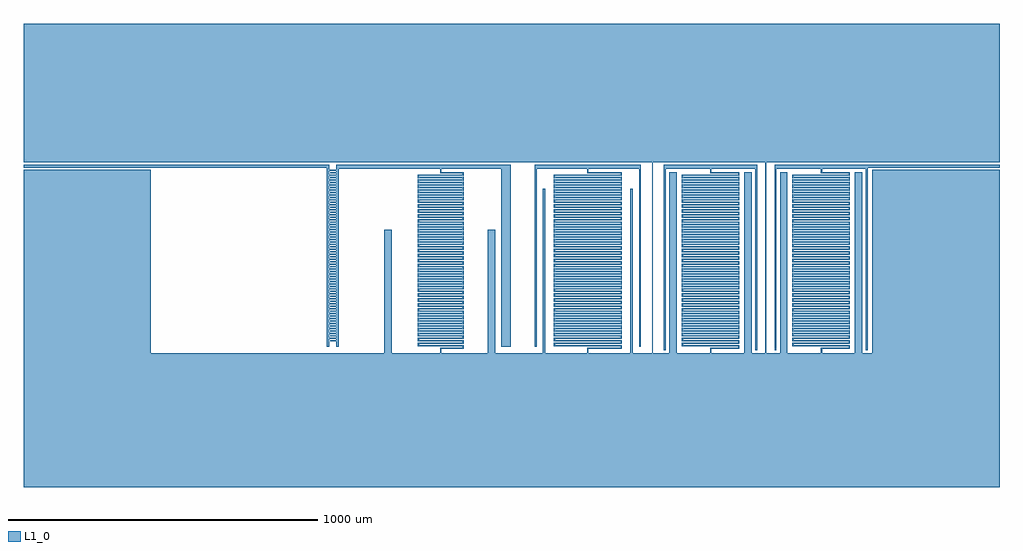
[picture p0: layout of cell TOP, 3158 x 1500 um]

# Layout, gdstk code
import gdstk
lib = gdstk.Library(unit=1e-6, precision=1e-09)
def R(c, l, rs):  # rectangles x0, y0, x1, y1
    for r in rs: c.add(gdstk.rectangle(r[:2], r[2:], *l))
def A(c, l, x, y, w, h, nx, ny, dx, dy):  # array of equal rectangles
    R(c, l, [(x+i*dx, y+j*dy, x+i*dx+w, y+j*dy+h) for i in range(nx) for j in range(ny)])
def P(c, l, *ps):  # polygons
    for p in ps: c.add(gdstk.Polygon(p, *l))
L1_0 = (1, 0)

top = lib.new_cell('TOP')
A(top, L1_0, 992, 472, 20, 4, 1, 35, 0, 16)
A(top, L1_0, 990, 480, 20, 4, 1, 35, 0, 16)
R(top, L1_0, [(1168,434,1192,834), (1502,434,1526,834), (1680,434,1688,966), (1964,434,1972,966), (2034,434,2036,1052), (2090,434,2114,1020), (2332,434,2356,1020), (2448,434,2472,1020), (2690,434,2714,1020), (2582,1034,3158,1044)])
P(top, L1_0, [(2404,434),(2404,1052),(3158,1052),(3158,1500),(0,1500),(0,1052),(2400,1052),(2400,434)],
  [(0,1044),(0,1034),(982,1034),(982,454),(990,454),(990,1044)],
  [(2746,1028),(2746,434),(412,434),(412,1028),(0,1028),(0,0),(3158,0),(3158,1028)],
  [(1654,454),(1660,454),(1660,1030),(1992,1030),(1992,454),(1998,454),(1998,1044),(1654,1044)],
  [(1828,448),(1936,448),(1936,460),(1720,460),(1720,464),(1936,464),(1936,476),(1720,476),(1720,480),(1936,480),(1936,492),(1720,492),(1720,496),(1936,496),(1936,508),(1720,508),(1720,512),(1936,512),(1936,524),(1720,524),(1720,528),(1936,528),(1936,540),(1720,540),(1720,544),(1936,544),(1936,556),(1720,556),(1720,560),(1936,560),(1936,572),(1720,572),(1720,576),(1936,576),(1936,588),(1720,588),(1720,592),(1936,592),(1936,604),(1720,604),(1720,608),(1936,608),(1936,620),(1720,620),(1720,624),(1936,624),(1936,636),(1720,636),(1720,640),(1936,640),(1936,652),(1720,652),(1720,656),(1936,656),(1936,668),(1720,668),(1720,672),(1936,672),(1936,684),(1720,684),(1720,688),(1936,688),(1936,700),(1720,700),(1720,704),(1936,704),(1936,716),(1720,716),(1720,720),(1936,720),(1936,732),(1720,732),(1720,736),(1716,736),(1716,728),(1932,728),(1932,724),(1716,724),(1716,712),(1932,712),(1932,708),(1716,708),(1716,696),(1932,696),(1932,692),(1716,692),(1716,680),(1932,680),(1932,676),(1716,676),(1716,664),(1932,664),(1932,660),(1716,660),(1716,648),(1932,648),(1932,644),(1716,644),(1716,632),(1932,632),(1932,628),(1716,628),(1716,616),(1932,616),(1932,612),(1716,612),(1716,600),(1932,600),(1932,596),(1716,596),(1716,584),(1932,584),(1932,580),(1716,580),(1716,568),(1932,568),(1932,564),(1716,564),(1716,552),(1932,552),(1932,548),(1716,548),(1716,536),(1932,536),(1932,532),(1716,532),(1716,520),(1932,520),(1932,516),(1716,516),(1716,504),(1932,504),(1932,500),(1716,500),(1716,488),(1932,488),(1932,484),(1716,484),(1716,472),(1932,472),(1932,468),(1716,468),(1716,456),(1932,456),(1932,452),(1824,452),(1824,434),(1828,434)],
  [(1936,748),(1720,748),(1720,752),(1936,752),(1936,764),(1720,764),(1720,768),(1936,768),(1936,780),(1720,780),(1720,784),(1936,784),(1936,796),(1720,796),(1720,800),(1936,800),(1936,812),(1720,812),(1720,816),(1936,816),(1936,828),(1720,828),(1720,832),(1936,832),(1936,844),(1720,844),(1720,848),(1936,848),(1936,860),(1720,860),(1720,864),(1936,864),(1936,876),(1720,876),(1720,880),(1936,880),(1936,892),(1720,892),(1720,896),(1936,896),(1936,908),(1720,908),(1720,912),(1936,912),(1936,924),(1720,924),(1720,928),(1936,928),(1936,940),(1720,940),(1720,944),(1936,944),(1936,956),(1720,956),(1720,960),(1936,960),(1936,972),(1720,972),(1720,976),(1936,976),(1936,988),(1720,988),(1720,992),(1936,992),(1936,1004),(1720,1004),(1720,1008),(1936,1008),(1936,1020),(1828,1020),(1828,1030),(1824,1030),(1824,1016),(1932,1016),(1932,1012),(1716,1012),(1716,1000),(1932,1000),(1932,996),(1716,996),(1716,984),(1932,984),(1932,980),(1716,980),(1716,968),(1932,968),(1932,964),(1716,964),(1716,952),(1932,952),(1932,948),(1716,948),(1716,936),(1932,936),(1932,932),(1716,932),(1716,920),(1932,920),(1932,916),(1716,916),(1716,904),(1932,904),(1932,900),(1716,900),(1716,888),(1932,888),(1932,884),(1716,884),(1716,872),(1932,872),(1932,868),(1716,868),(1716,856),(1932,856),(1932,852),(1716,852),(1716,840),(1932,840),(1932,836),(1716,836),(1716,824),(1932,824),(1932,820),(1716,820),(1716,808),(1932,808),(1932,804),(1716,804),(1716,792),(1932,792),(1932,788),(1716,788),(1716,776),(1932,776),(1932,772),(1716,772),(1716,760),(1932,760),(1932,756),(1716,756),(1716,744),(1932,744),(1932,740),(1716,740),(1716,736),(1936,736)],
  [(2072,444),(2078,444),(2078,1030),(2368,1030),(2368,444),(2374,444),(2374,1044),(2072,1044)],
  [(2226,448),(2316,448),(2316,460),(2134,460),(2134,464),(2316,464),(2316,476),(2134,476),(2134,480),(2316,480),(2316,492),(2134,492),(2134,496),(2316,496),(2316,508),(2134,508),(2134,512),(2316,512),(2316,524),(2134,524),(2134,528),(2316,528),(2316,540),(2134,540),(2134,544),(2316,544),(2316,556),(2134,556),(2134,560),(2316,560),(2316,572),(2134,572),(2134,576),(2316,576),(2316,588),(2134,588),(2134,592),(2316,592),(2316,604),(2134,604),(2134,608),(2316,608),(2316,620),(2134,620),(2134,624),(2316,624),(2316,636),(2134,636),(2134,640),(2316,640),(2316,652),(2134,652),(2134,656),(2316,656),(2316,668),(2134,668),(2134,672),(2316,672),(2316,684),(2134,684),(2134,688),(2316,688),(2316,700),(2134,700),(2134,704),(2316,704),(2316,716),(2134,716),(2134,720),(2316,720),(2316,732),(2134,732),(2134,736),(2130,736),(2130,728),(2312,728),(2312,724),(2130,724),(2130,712),(2312,712),(2312,708),(2130,708),(2130,696),(2312,696),(2312,692),(2130,692),(2130,680),(2312,680),(2312,676),(2130,676),(2130,664),(2312,664),(2312,660),(2130,660),(2130,648),(2312,648),(2312,644),(2130,644),(2130,632),(2312,632),(2312,628),(2130,628),(2130,616),(2312,616),(2312,612),(2130,612),(2130,600),(2312,600),(2312,596),(2130,596),(2130,584),(2312,584),(2312,580),(2130,580),(2130,568),(2312,568),(2312,564),(2130,564),(2130,552),(2312,552),(2312,548),(2130,548),(2130,536),(2312,536),(2312,532),(2130,532),(2130,520),(2312,520),(2312,516),(2130,516),(2130,504),(2312,504),(2312,500),(2130,500),(2130,488),(2312,488),(2312,484),(2130,484),(2130,472),(2312,472),(2312,468),(2130,468),(2130,456),(2312,456),(2312,452),(2222,452),(2222,434),(2226,434)],
  [(2316,748),(2134,748),(2134,752),(2316,752),(2316,764),(2134,764),(2134,768),(2316,768),(2316,780),(2134,780),(2134,784),(2316,784),(2316,796),(2134,796),(2134,800),(2316,800),(2316,812),(2134,812),(2134,816),(2316,816),(2316,828),(2134,828),(2134,832),(2316,832),(2316,844),(2134,844),(2134,848),(2316,848),(2316,860),(2134,860),(2134,864),(2316,864),(2316,876),(2134,876),(2134,880),(2316,880),(2316,892),(2134,892),(2134,896),(2316,896),(2316,908),(2134,908),(2134,912),(2316,912),(2316,924),(2134,924),(2134,928),(2316,928),(2316,940),(2134,940),(2134,944),(2316,944),(2316,956),(2134,956),(2134,960),(2316,960),(2316,972),(2134,972),(2134,976),(2316,976),(2316,988),(2134,988),(2134,992),(2316,992),(2316,1004),(2134,1004),(2134,1008),(2316,1008),(2316,1020),(2226,1020),(2226,1030),(2222,1030),(2222,1016),(2312,1016),(2312,1012),(2130,1012),(2130,1000),(2312,1000),(2312,996),(2130,996),(2130,984),(2312,984),(2312,980),(2130,980),(2130,968),(2312,968),(2312,964),(2130,964),(2130,952),(2312,952),(2312,948),(2130,948),(2130,936),(2312,936),(2312,932),(2130,932),(2130,920),(2312,920),(2312,916),(2130,916),(2130,904),(2312,904),(2312,900),(2130,900),(2130,888),(2312,888),(2312,884),(2130,884),(2130,872),(2312,872),(2312,868),(2130,868),(2130,856),(2312,856),(2312,852),(2130,852),(2130,840),(2312,840),(2312,836),(2130,836),(2130,824),(2312,824),(2312,820),(2130,820),(2130,808),(2312,808),(2312,804),(2130,804),(2130,792),(2312,792),(2312,788),(2130,788),(2130,776),(2312,776),(2312,772),(2130,772),(2130,760),(2312,760),(2312,756),(2130,756),(2130,744),(2312,744),(2312,740),(2130,740),(2130,736),(2316,736)],
  [(2430,444),(2436,444),(2436,1030),(2726,1030),(2726,444),(2732,444),(2732,1044),(2430,1044)],
  [(2584,448),(2674,448),(2674,460),(2492,460),(2492,464),(2674,464),(2674,476),(2492,476),(2492,480),(2674,480),(2674,492),(2492,492),(2492,496),(2674,496),(2674,508),(2492,508),(2492,512),(2674,512),(2674,524),(2492,524),(2492,528),(2674,528),(2674,540),(2492,540),(2492,544),(2674,544),(2674,556),(2492,556),(2492,560),(2674,560),(2674,572),(2492,572),(2492,576),(2674,576),(2674,588),(2492,588),(2492,592),(2674,592),(2674,604),(2492,604),(2492,608),(2674,608),(2674,620),(2492,620),(2492,624),(2674,624),(2674,636),(2492,636),(2492,640),(2674,640),(2674,652),(2492,652),(2492,656),(2674,656),(2674,668),(2492,668),(2492,672),(2674,672),(2674,684),(2492,684),(2492,688),(2674,688),(2674,700),(2492,700),(2492,704),(2674,704),(2674,716),(2492,716),(2492,720),(2674,720),(2674,732),(2492,732),(2492,736),(2488,736),(2488,728),(2670,728),(2670,724),(2488,724),(2488,712),(2670,712),(2670,708),(2488,708),(2488,696),(2670,696),(2670,692),(2488,692),(2488,680),(2670,680),(2670,676),(2488,676),(2488,664),(2670,664),(2670,660),(2488,660),(2488,648),(2670,648),(2670,644),(2488,644),(2488,632),(2670,632),(2670,628),(2488,628),(2488,616),(2670,616),(2670,612),(2488,612),(2488,600),(2670,600),(2670,596),(2488,596),(2488,584),(2670,584),(2670,580),(2488,580),(2488,568),(2670,568),(2670,564),(2488,564),(2488,552),(2670,552),(2670,548),(2488,548),(2488,536),(2670,536),(2670,532),(2488,532),(2488,520),(2670,520),(2670,516),(2488,516),(2488,504),(2670,504),(2670,500),(2488,500),(2488,488),(2670,488),(2670,484),(2488,484),(2488,472),(2670,472),(2670,468),(2488,468),(2488,456),(2670,456),(2670,452),(2580,452),(2580,434),(2584,434)],
  [(2674,748),(2492,748),(2492,752),(2674,752),(2674,764),(2492,764),(2492,768),(2674,768),(2674,780),(2492,780),(2492,784),(2674,784),(2674,796),(2492,796),(2492,800),(2674,800),(2674,812),(2492,812),(2492,816),(2674,816),(2674,828),(2492,828),(2492,832),(2674,832),(2674,844),(2492,844),(2492,848),(2674,848),(2674,860),(2492,860),(2492,864),(2674,864),(2674,876),(2492,876),(2492,880),(2674,880),(2674,892),(2492,892),(2492,896),(2674,896),(2674,908),(2492,908),(2492,912),(2674,912),(2674,924),(2492,924),(2492,928),(2674,928),(2674,940),(2492,940),(2492,944),(2674,944),(2674,956),(2492,956),(2492,960),(2674,960),(2674,972),(2492,972),(2492,976),(2674,976),(2674,988),(2492,988),(2492,992),(2674,992),(2674,1004),(2492,1004),(2492,1008),(2674,1008),(2674,1020),(2584,1020),(2584,1030),(2580,1030),(2580,1016),(2670,1016),(2670,1012),(2488,1012),(2488,1000),(2670,1000),(2670,996),(2488,996),(2488,984),(2670,984),(2670,980),(2488,980),(2488,968),(2670,968),(2670,964),(2488,964),(2488,952),(2670,952),(2670,948),(2488,948),(2488,936),(2670,936),(2670,932),(2488,932),(2488,920),(2670,920),(2670,916),(2488,916),(2488,904),(2670,904),(2670,900),(2488,900),(2488,888),(2670,888),(2670,884),(2488,884),(2488,872),(2670,872),(2670,868),(2488,868),(2488,856),(2670,856),(2670,852),(2488,852),(2488,840),(2670,840),(2670,836),(2488,836),(2488,824),(2670,824),(2670,820),(2488,820),(2488,808),(2670,808),(2670,804),(2488,804),(2488,792),(2670,792),(2670,788),(2488,788),(2488,776),(2670,776),(2670,772),(2488,772),(2488,760),(2670,760),(2670,756),(2488,756),(2488,744),(2670,744),(2670,740),(2488,740),(2488,736),(2674,736)],
  [(1012,454),(1020,454),(1020,1030),(1546,1030),(1546,454),(1576,454),(1576,1044),(1012,1044)],
  [(1352,448),(1424,448),(1424,460),(1280,460),(1280,464),(1424,464),(1424,476),(1280,476),(1280,480),(1424,480),(1424,492),(1280,492),(1280,496),(1424,496),(1424,508),(1280,508),(1280,512),(1424,512),(1424,524),(1280,524),(1280,528),(1424,528),(1424,540),(1280,540),(1280,544),(1424,544),(1424,556),(1280,556),(1280,560),(1424,560),(1424,572),(1280,572),(1280,576),(1424,576),(1424,588),(1280,588),(1280,592),(1424,592),(1424,604),(1280,604),(1280,608),(1424,608),(1424,620),(1280,620),(1280,624),(1424,624),(1424,636),(1280,636),(1280,640),(1424,640),(1424,652),(1280,652),(1280,656),(1424,656),(1424,668),(1280,668),(1280,672),(1424,672),(1424,684),(1280,684),(1280,688),(1424,688),(1424,700),(1280,700),(1280,704),(1424,704),(1424,716),(1280,716),(1280,720),(1424,720),(1424,732),(1280,732),(1280,736),(1276,736),(1276,728),(1420,728),(1420,724),(1276,724),(1276,712),(1420,712),(1420,708),(1276,708),(1276,696),(1420,696),(1420,692),(1276,692),(1276,680),(1420,680),(1420,676),(1276,676),(1276,664),(1420,664),(1420,660),(1276,660),(1276,648),(1420,648),(1420,644),(1276,644),(1276,632),(1420,632),(1420,628),(1276,628),(1276,616),(1420,616),(1420,612),(1276,612),(1276,600),(1420,600),(1420,596),(1276,596),(1276,584),(1420,584),(1420,580),(1276,580),(1276,568),(1420,568),(1420,564),(1276,564),(1276,552),(1420,552),(1420,548),(1276,548),(1276,536),(1420,536),(1420,532),(1276,532),(1276,520),(1420,520),(1420,516),(1276,516),(1276,504),(1420,504),(1420,500),(1276,500),(1276,488),(1420,488),(1420,484),(1276,484),(1276,472),(1420,472),(1420,468),(1276,468),(1276,456),(1420,456),(1420,452),(1348,452),(1348,434),(1352,434)],
  [(1424,748),(1280,748),(1280,752),(1424,752),(1424,764),(1280,764),(1280,768),(1424,768),(1424,780),(1280,780),(1280,784),(1424,784),(1424,796),(1280,796),(1280,800),(1424,800),(1424,812),(1280,812),(1280,816),(1424,816),(1424,828),(1280,828),(1280,832),(1424,832),(1424,844),(1280,844),(1280,848),(1424,848),(1424,860),(1280,860),(1280,864),(1424,864),(1424,876),(1280,876),(1280,880),(1424,880),(1424,892),(1280,892),(1280,896),(1424,896),(1424,908),(1280,908),(1280,912),(1424,912),(1424,924),(1280,924),(1280,928),(1424,928),(1424,940),(1280,940),(1280,944),(1424,944),(1424,956),(1280,956),(1280,960),(1424,960),(1424,972),(1280,972),(1280,976),(1424,976),(1424,988),(1280,988),(1280,992),(1424,992),(1424,1004),(1280,1004),(1280,1008),(1424,1008),(1424,1020),(1352,1020),(1352,1030),(1348,1030),(1348,1016),(1420,1016),(1420,1012),(1276,1012),(1276,1000),(1420,1000),(1420,996),(1276,996),(1276,984),(1420,984),(1420,980),(1276,980),(1276,968),(1420,968),(1420,964),(1276,964),(1276,952),(1420,952),(1420,948),(1276,948),(1276,936),(1420,936),(1420,932),(1276,932),(1276,920),(1420,920),(1420,916),(1276,916),(1276,904),(1420,904),(1420,900),(1276,900),(1276,888),(1420,888),(1420,884),(1276,884),(1276,872),(1420,872),(1420,868),(1276,868),(1276,856),(1420,856),(1420,852),(1276,852),(1276,840),(1420,840),(1420,836),(1276,836),(1276,824),(1420,824),(1420,820),(1276,820),(1276,808),(1420,808),(1420,804),(1276,804),(1276,792),(1420,792),(1420,788),(1276,788),(1276,776),(1420,776),(1420,772),(1276,772),(1276,760),(1420,760),(1420,756),(1276,756),(1276,744),(1420,744),(1420,740),(1276,740),(1276,736),(1424,736)])

lib.write_gds('TOP.gds')
